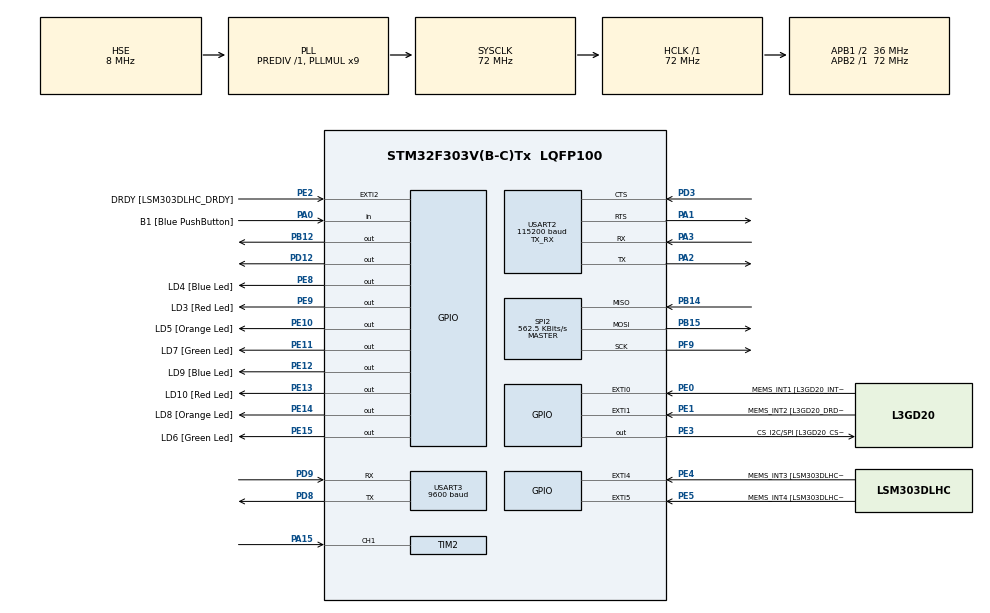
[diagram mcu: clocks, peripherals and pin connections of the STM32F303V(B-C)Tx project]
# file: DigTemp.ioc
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CRC.CRCLength=CRC_POLYLENGTH_8B
CRC.DefaultInitValueUse=DEFAULT_INIT_VALUE_DISABLE
CRC.DefaultPolynomialUse=DEFAULT_POLYNOMIAL_DISABLE
CRC.GeneratingPolynomial=X5+X4+X0
CRC.InputDataFormat=CRC_INPUTDATA_FORMAT_WORDS
Mcu.Family=STM32F3
Mcu.Name=STM32F303V(B-C)Tx
Mcu.Package=LQFP100
NVIC.PriorityGroup=NVIC_PRIORITYGROUP_0
NVIC.TIM2_IRQn=true\:0\:0\:false\:false\:true\:true
NVIC.USART2_IRQn=true\:0\:0\:false\:false\:true\:true
NVIC.USART3_IRQn=true\:0\:0\:false\:false\:true\:true
PA0.GPIO_Label=B1 [Blue PushButton]
PA0.GPIO_Mode=GPIO_MODE_INPUT
PA0.GPIO_PuPd=GPIO_NOPULL
PA0.Signal=GPIO_Input
PA1.Mode=CTS_RTS
PA1.Signal=USART2_RTS
PA11.GPIO_Label=DM
PA11.Signal=USB_DM
PA12.GPIO_Label=DP
PA12.Signal=USB_DP
PA13.GPIO_Label=SWDIO
PA13.Signal=SYS_JTMS-SWDIO
PA14.GPIO_Label=SWCLK
PA14.Signal=SYS_JTCK-SWCLK
PA15.Signal=S_TIM2_CH1_ETR
PA2.Mode=Asynchronous
PA2.Signal=USART2_TX
PA3.Mode=Asynchronous
PA3.Signal=USART2_RX
PA5.GPIO_Label=SPI1_SCK [L3GD20_SCL/SPC]
PA5.GPIO_Mode=GPIO_MODE_AF_PP
PA5.GPIO_PuPd=GPIO_NOPULL
PA5.GPIO_Speed=GPIO_SPEED_FREQ_LOW
PA5.Signal=SPI1_SCK
PA6.GPIO_Label=SPI1_MISO [L3GD20_SA0/SDO]
PA6.GPIO_Mode=GPIO_MODE_AF_PP
PA6.GPIO_PuPd=GPIO_NOPULL
PA6.GPIO_Speed=GPIO_SPEED_FREQ_LOW
PA6.Signal=SPI1_MISO
PA7.GPIO_Label=SPI1_MISO [L3GD20_SDA/SDI/SDO]
PA7.GPIO_Mode=GPIO_MODE_AF_PP
PA7.GPIO_PuPd=GPIO_NOPULL
PA7.GPIO_Speed=GPIO_SPEED_FREQ_LOW
PA7.Signal=SPI1_MOSI
PB12.GPIO_PuPd=GPIO_NOPULL
PB12.Signal=GPIO_Output
PB14.Mode=Full_Duplex_Master
PB14.Signal=SPI2_MISO
PB15.Mode=Full_Duplex_Master
PB15.Signal=SPI2_MOSI
PB3.GPIO_Label=SWO
PB3.Signal=SYS_JTDO-TRACESWO
PB6.GPIO_FM6=__NULL
PB6.GPIO_Label=I2C1_SCL [LSM303DLHC_SCL]
PB6.GPIO_Mode=GPIO_MODE_AF_OD
PB6.GPIO_PuPd=GPIO_NOPULL
PB6.GPIO_Speed=GPIO_SPEED_FREQ_LOW
PB6.Signal=I2C1_SCL
PB7.GPIO_FM7=__NULL
PB7.GPIO_Label=I2C1_SDA [LSM303DLHC_SDA]
PB7.GPIO_Mode=GPIO_MODE_AF_OD
PB7.GPIO_PuPd=GPIO_NOPULL
PB7.GPIO_Speed=GPIO_SPEED_FREQ_LOW
PB7.Signal=I2C1_SDA
PC14-OSC32_IN.GPIO_Label=OSC32_IN
PC14-OSC32_IN.Signal=RCC_OSC32_IN
PC15-OSC32_OUT.GPIO_Label=OSC32_OUT
PC15-OSC32_OUT.Signal=RCC_OSC32_OUT
PD12.Signal=GPIO_Output
PD3.Mode=CTS_RTS
PD3.Signal=USART2_CTS
PD8.Mode=Asynchronous
PD8.Signal=USART3_TX
PD9.Mode=Asynchronous
PD9.Signal=USART3_RX
PE0.GPIO_Label=MEMS_INT1 [L3GD20_INT1]
PE0.GPIO_ModeDefaultEXTI=GPIO_MODE_EVT_RISING
PE0.GPIO_PuPd=GPIO_NOPULL
PE0.Signal=GPXTI0
PE1.GPIO_Label=MEMS_INT2 [L3GD20_DRDY/INT2]
PE1.GPIO_ModeDefaultEXTI=GPIO_MODE_EVT_RISING
PE1.GPIO_PuPd=GPIO_NOPULL
PE1.Signal=GPXTI1
PE10.GPIO_Label=LD5 [Orange Led]
PE10.GPIO_ModeDefaultOutputPP=GPIO_MODE_OUTPUT_PP
PE10.GPIO_PuPd=GPIO_NOPULL
PE10.GPIO_Speed=GPIO_SPEED_FREQ_LOW
PE10.Signal=GPIO_Output
PE11.GPIO_Label=LD7 [Green Led]
PE11.GPIO_ModeDefaultOutputPP=GPIO_MODE_OUTPUT_PP
PE11.GPIO_PuPd=GPIO_NOPULL
PE11.GPIO_Speed=GPIO_SPEED_FREQ_LOW
PE11.Signal=GPIO_Output
PE12.GPIO_Label=LD9 [Blue Led]
PE12.GPIO_ModeDefaultOutputPP=GPIO_MODE_OUTPUT_PP
PE12.GPIO_PuPd=GPIO_NOPULL
PE12.GPIO_Speed=GPIO_SPEED_FREQ_LOW
PE12.Signal=GPIO_Output
PE13.GPIO_Label=LD10 [Red Led]
PE13.GPIO_ModeDefaultOutputPP=GPIO_MODE_OUTPUT_PP
PE13.GPIO_PuPd=GPIO_NOPULL
PE13.GPIO_Speed=GPIO_SPEED_FREQ_LOW
PE13.Signal=GPIO_Output
PE14.GPIO_Label=LD8 [Orange Led]
PE14.GPIO_ModeDefaultOutputPP=GPIO_MODE_OUTPUT_PP
PE14.GPIO_PuPd=GPIO_NOPULL
PE14.GPIO_Speed=GPIO_SPEED_FREQ_LOW
PE14.Signal=GPIO_Output
PE15.GPIO_Label=LD6 [Green Led]
PE15.GPIO_ModeDefaultOutputPP=GPIO_MODE_OUTPUT_PP
PE15.GPIO_PuPd=GPIO_NOPULL
PE15.GPIO_Speed=GPIO_SPEED_FREQ_LOW
PE15.Signal=GPIO_Output
PE2.GPIO_Label=DRDY [LSM303DLHC_DRDY]
PE2.GPIO_ModeDefaultEXTI=GPIO_MODE_EVT_RISING
PE2.GPIO_PuPd=GPIO_NOPULL
PE2.Signal=GPXTI2
PE3.GPIO_Label=CS_I2C/SPI [L3GD20_CS_I2C/SPI]
PE3.GPIO_ModeDefaultOutputPP=GPIO_MODE_OUTPUT_PP
PE3.GPIO_PuPd=GPIO_NOPULL
PE3.GPIO_Speed=GPIO_SPEED_FREQ_LOW
PE3.Signal=GPIO_Output
PE4.GPIO_Label=MEMS_INT3 [LSM303DLHC_INT1]
PE4.GPIO_ModeDefaultEXTI=GPIO_MODE_EVT_RISING
PE4.GPIO_PuPd=GPIO_NOPULL
PE4.Signal=GPXTI4
PE5.GPIO_Label=MEMS_INT4 [LSM303DLHC_INT2]
PE5.GPIO_ModeDefaultEXTI=GPIO_MODE_EVT_RISING
PE5.GPIO_PuPd=GPIO_NOPULL
PE5.Signal=GPXTI5
PE8.GPIO_Label=LD4 [Blue Led]
PE8.GPIO_ModeDefaultOutputPP=GPIO_MODE_OUTPUT_PP
PE8.GPIO_PuPd=GPIO_NOPULL
PE8.GPIO_Speed=GPIO_SPEED_FREQ_LOW
PE8.Signal=GPIO_Output
PE9.GPIO_Label=LD3 [Red Led]
PE9.GPIO_ModeDefaultOutputPP=GPIO_MODE_OUTPUT_PP
PE9.GPIO_PuPd=GPIO_NOPULL
PE9.GPIO_Speed=GPIO_SPEED_FREQ_LOW
PE9.Signal=GPIO_Output
PF0-OSC_IN.Mode=HSE-External-Oscillator
PF0-OSC_IN.Signal=RCC_OSC_IN
PF1-OSC_OUT.GPIO_Label=OSC_OUT
PF1-OSC_OUT.Mode=HSE-External-Oscillator
PF1-OSC_OUT.Signal=RCC_OSC_OUT
PF9.Mode=Full_Duplex_Master
PF9.Signal=SPI2_SCK
ProjectManager.HeapSize=0x200
ProjectManager.StackSize=0x400
ProjectManager.TargetToolchain=SW4STM32
RCC.AHBFreq_Value=72000000
RCC.APB1CLKDivider=RCC_HCLK_DIV2
RCC.APB1Freq_Value=36000000
RCC.APB1TimFreq_Value=72000000
RCC.APB2Freq_Value=72000000
RCC.APB2TimFreq_Value=72000000
RCC.CortexFreq_Value=72000000
RCC.HCLKFreq_Value=72000000
RCC.HSE_VALUE=8000000
RCC.HSI_VALUE=8000000
RCC.LSE_VALUE=32768
RCC.PLLMUL=RCC_PLL_MUL9
RCC.PLLSourceVirtual=RCC_PLLSOURCE_HSE
RCC.SYSCLKFreq_VALUE=72000000
RCC.SYSCLKSourceVirtual=RCC_SYSCLKSOURCE_PLLCLK
RCC.USBFreq_Value=72000000
RTC.AsynchPrediv=80-1
RTC.Format=RTC_FORMAT_BIN
RTC.SynchPrediv=500-1
SH.S_TIM2_CH1_ETR.0=TIM2_CH1,TriggerSource_TI1FP1
SH.S_TIM2_CH1_ETR.1=TIM2_CH1,Input_Capture1_from_TI1
SH.S_TIM2_CH1_ETR.2=TIM2_CH1,Input_Capture2_from_TI1
SPI2.BaudRatePrescaler=SPI_BAUDRATEPRESCALER_64
SPI2.CLKPhase=SPI_PHASE_2EDGE
SPI2.CLKPolarity=SPI_POLARITY_HIGH
SPI2.CalculateBaudRate=562.5 KBits/s
SPI2.DataSize=SPI_DATASIZE_8BIT
SPI2.Direction=SPI_DIRECTION_2LINES
SPI2.FirstBit=SPI_FIRSTBIT_LSB
SPI2.Mode=SPI_MODE_MASTER
SPI2.VirtualType=VM_MASTER
TIM2.Channel-Input_Capture1_from_TI1=TIM_CHANNEL_1
TIM2.Channel-Input_Capture2_from_TI1=TIM_CHANNEL_2
TIM2.ICPolarity_CH2=TIM_INPUTCHANNELPOLARITY_FALLING
TIM2.Period=0xFFFF
TIM2.Prescaler=71
USART2.BaudRate=115200
USART2.Mode=MODE_TX_RX
USART2.VirtualMode-Asynchronous=VM_ASYNC
USART3.BaudRate=9600
USART3.VirtualMode-Asynchronous=VM_ASYNC
VP_CRC_VS_CRC.Mode=CRC_Activate
VP_RTC_VS_RTC_Activate.Mode=RTC_Enabled
VP_RTC_VS_RTC_Calendar.Mode=RTC_Calendar
VP_TIM2_VS_ClockSourceINT.Mode=Internal
VP_TIM2_VS_ControllerModeReset.Mode=Reset Mode
board=STM32F3DISCOVERY

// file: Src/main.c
/**
  ******************************************************************************
  * File Name          : main.c
  * Description        : Main program body
  ******************************************************************************
  ** This notice applies to any and all portions of this file
  * that are not between comment pairs USER CODE BEGIN and
  * USER CODE END. Other portions of this file, whether
  * inserted by the user or by software development tools
  * are owned by their respective copyright owners.
  *
  * COPYRIGHT(c) 2018 STMicroelectronics
  *
  * Redistribution and use in source and binary forms, with or without modification,
  * are permitted provided that the following conditions are met:
  *   1. Redistributions of source code must retain the above copyright notice,
  *      this list of conditions and the following disclaimer.
  *   2. Redistributions in binary form must reproduce the above copyright notice,
  *      this list of conditions and the following disclaimer in the documentation
  *      and/or other materials provided with the distribution.
  *   3. Neither the name of STMicroelectronics nor the names of its contributors
  *      may be used to endorse or promote products derived from this software
  *      without specific prior written permission.
  *
  * THIS SOFTWARE IS PROVIDED BY THE COPYRIGHT HOLDERS AND CONTRIBUTORS "AS IS"
  * AND ANY EXPRESS OR IMPLIED WARRANTIES, INCLUDING, BUT NOT LIMITED TO, THE
  * IMPLIED WARRANTIES OF MERCHANTABILITY AND FITNESS FOR A PARTICULAR PURPOSE ARE
  * DISCLAIMED. IN NO EVENT SHALL THE COPYRIGHT HOLDER OR CONTRIBUTORS BE LIABLE
  * FOR ANY DIRECT, INDIRECT, INCIDENTAL, SPECIAL, EXEMPLARY, OR CONSEQUENTIAL
  * DAMAGES (INCLUDING, BUT NOT LIMITED TO, PROCUREMENT OF SUBSTITUTE GOODS OR
  * SERVICES; LOSS OF USE, DATA, OR PROFITS; OR BUSINESS INTERRUPTION) HOWEVER
  * CAUSED AND ON ANY THEORY OF LIABILITY, WHETHER IN CONTRACT, STRICT LIABILITY,
  * OR TORT (INCLUDING NEGLIGENCE OR OTHERWISE) ARISING IN ANY WAY OUT OF THE USE
  * OF THIS SOFTWARE, EVEN IF ADVISED OF THE POSSIBILITY OF SUCH DAMAGE.
  *
  ******************************************************************************
  */

#include "main.h"
#include "stm32f3xx_hal.h"
#include "crc.h"
#include "rtc.h"
#include "spi.h"
#include "tim.h"
#include "usart.h"
#include "gpio.h"

/* USER CODE BEGIN Includes */
#include "stdbool.h"
#include "telldus.h"
#include "display.h"
#include "setuartrtc.h"
#include "bluetooth.h"
/* USER CODE END Includes */

/* USER CODE BEGIN PV */
RTC_HandleTypeDef hrtc;
RTC_TimeTypeDef sTime;
RTC_DateTypeDef sDate;
uint8_t showtime[10] = {0};
/* USER CODE END PV */

void SystemClock_Config(void);

/* USER CODE BEGIN PFP */
/* Private function prototypes -----------------------------------------------*/
/* USER CODE END PFP */

/* USER CODE BEGIN 0 */
/*Callback function defines*/
  void HAL_TIM_IC_CaptureCallback(TIM_HandleTypeDef *htim2){
  static uint16_t ticks2;
  if (htim2->Channel == HAL_TIM_ACTIVE_CHANNEL_2)
  {
    /* Get the Input Capture value from negativ edge */
    ticks2 = HAL_TIM_ReadCapturedValue(htim2, TIM_CHANNEL_2);
       telldus(ticks2);
  }
  }
/* USER CODE END 0 */

int main(void)
{

  /* MCU Configuration----------------------------------------------------------*/

  /* Reset of all peripherals, Initializes the Flash interface and the Systick. */
  HAL_Init();

  /* Configure the system clock */
  SystemClock_Config();

  /* Initialize all configured peripherals */
  MX_GPIO_Init();
  MX_TIM2_Init();
  MX_USART3_UART_Init();
  MX_CRC_Init();
  MX_RTC_Init();
  MX_SPI2_Init();
  MX_USART2_UART_Init();

  /* USER CODE BEGIN 2 */
    if  (HAL_TIM_IC_Start_IT(&htim2,TIM_CHANNEL_1) != HAL_OK)
    {
      Error_Handler();
    }
     if  (HAL_TIM_IC_Start_IT(&htim2,TIM_CHANNEL_2) != HAL_OK)
    {
      Error_Handler();
    }
  /* Initialization of the display */
 	initDisplay();

  /* Initialization of Bluetooth */
 	initBluetooth();

 	/* Initialization of RTC via UART */
 	setUartRtc();

  /* USER CODE END 2 */

  /* Infinite loop */
  /* USER CODE BEGIN WHILE */
  while (1)
  {
	  HAL_RTC_GetTime(&hrtc,&sTime,RTC_FORMAT_BIN);
	  HAL_RTC_GetDate(&hrtc,&sDate,RTC_FORMAT_BIN);
	  /* Display time Format : hh:mm:ss */
	  sprintf((char *)showtime, " %02d:%02d:%02d", sTime.Hours, sTime.Minutes, sTime.Seconds);
	  sendDisplay(0,0,0x80);//1st row
	  for(int i = 0; i<9; i++){
	   	sendDisplay(1,0,showtime[i]);
	  }
    }
  /* USER CODE END WHILE */

}

/** System Clock Configuration
*/
void SystemClock_Config(void)
{

  RCC_OscInitTypeDef RCC_OscInitStruct;
  RCC_ClkInitTypeDef RCC_ClkInitStruct;
  RCC_PeriphCLKInitTypeDef PeriphClkInit;

    /**Initializes the CPU, AHB and APB busses clocks
    */
  RCC_OscInitStruct.OscillatorType = RCC_OSCILLATORTYPE_LSI|RCC_OSCILLATORTYPE_HSE;
  RCC_OscInitStruct.HSEState = RCC_HSE_ON;
  RCC_OscInitStruct.HSEPredivValue = RCC_HSE_PREDIV_DIV1;
  RCC_OscInitStruct.HSIState = RCC_HSI_ON;
  RCC_OscInitStruct.LSIState = RCC_LSI_ON;
  RCC_OscInitStruct.PLL.PLLState = RCC_PLL_ON;
  RCC_OscInitStruct.PLL.PLLSource = RCC_PLLSOURCE_HSE;
  RCC_OscInitStruct.PLL.PLLMUL = RCC_PLL_MUL9;
  if (HAL_RCC_OscConfig(&RCC_OscInitStruct) != HAL_OK)
  {
    _Error_Handler(__FILE__, __LINE__);
  }

    /**Initializes the CPU, AHB and APB busses clocks
    */
  RCC_ClkInitStruct.ClockType = RCC_CLOCKTYPE_HCLK|RCC_CLOCKTYPE_SYSCLK
                              |RCC_CLOCKTYPE_PCLK1|RCC_CLOCKTYPE_PCLK2;
  RCC_ClkInitStruct.SYSCLKSource = RCC_SYSCLKSOURCE_PLLCLK;
  RCC_ClkInitStruct.AHBCLKDivider = RCC_SYSCLK_DIV1;
  RCC_ClkInitStruct.APB1CLKDivider = RCC_HCLK_DIV2;
  RCC_ClkInitStruct.APB2CLKDivider = RCC_HCLK_DIV1;

  if (HAL_RCC_ClockConfig(&RCC_ClkInitStruct, FLASH_LATENCY_2) != HAL_OK)
  {
    _Error_Handler(__FILE__, __LINE__);
  }

  PeriphClkInit.PeriphClockSelection = RCC_PERIPHCLK_USART2|RCC_PERIPHCLK_USART3
                              |RCC_PERIPHCLK_RTC;
  PeriphClkInit.Usart2ClockSelection = RCC_USART2CLKSOURCE_PCLK1;
  PeriphClkInit.Usart3ClockSelection = RCC_USART3CLKSOURCE_PCLK1;
  PeriphClkInit.RTCClockSelection = RCC_RTCCLKSOURCE_LSI;
  if (HAL_RCCEx_PeriphCLKConfig(&PeriphClkInit) != HAL_OK)
  {
    _Error_Handler(__FILE__, __LINE__);
  }

    /**Configure the Systick interrupt time
    */
  HAL_SYSTICK_Config(HAL_RCC_GetHCLKFreq()/1000);

    /**Configure the Systick
    */
  HAL_SYSTICK_CLKSourceConfig(SYSTICK_CLKSOURCE_HCLK);

  /* SysTick_IRQn interrupt configuration */
  HAL_NVIC_SetPriority(SysTick_IRQn, 0, 0);
}

void _Error_Handler(char * file, int line)
{
  while(1)
  {
  }
}

/************************ (C) COPYRIGHT STMicroelectronics *****END OF FILE****/
